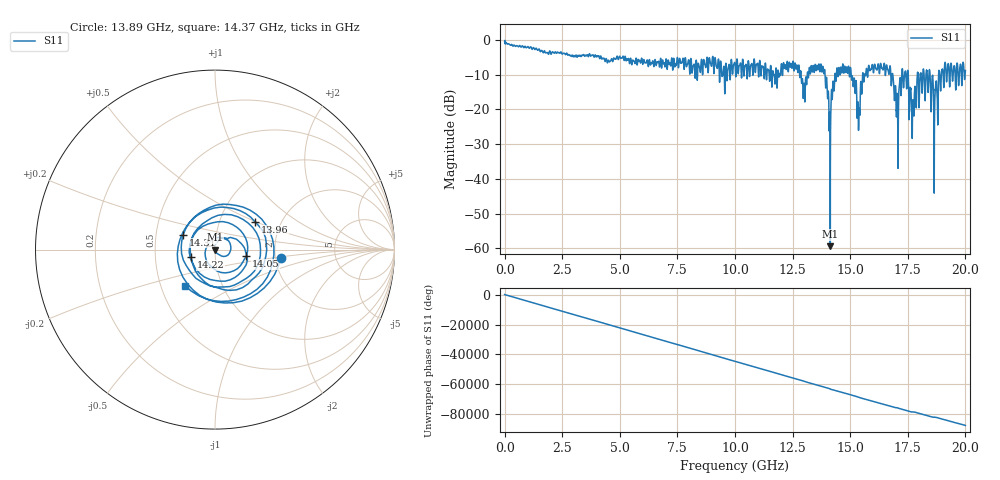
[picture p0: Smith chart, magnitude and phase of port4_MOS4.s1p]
! MS46122B
! 2250307/22442219
! 6/12/2025 7:37:34 AM
! C:\USERS\SPARKY\DOCUMENTS\VNA_DATA\JUNE12_2025\3.1 KELVIN\PORT4.S1P
! CHANNEL.1
! TR.MEASUREMENT
! RAW.DATA
# GHZ S RI R 50.0
! FREQ.GHZ  S11RE  S11IM
!; PortSelection: Port_1
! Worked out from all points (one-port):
!   10001 points, 1 MHz to 20 GHz, reference 50 ohm
!   lowest |S11| = -59.4 dB at 14.14 GHz (marker M1), VSWR 1.00, Z = 50 - j0.102 ohm
!   |S11| at or under -10 dB: 13.91 GHz to 14.34 GHz (426.6 MHz wide, 3.02 % of centre); 15.04 GHz to 15.54 GHz (496.9 MHz wide, 3.25 % of centre); 17.52 GHz to 17.91 GHz (395.5 MHz wide, 2.23 % of centre) (the widest 3 of 58)
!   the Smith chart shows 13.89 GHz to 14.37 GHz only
!   S11 on the Smith chart (normalised r, x): 13.89 GHz: 2.13, -0.24; 13.96 GHz: 1.47, +0.50; 14.05 GHz: 1.42, -0.10; 14.22 GHz: 0.76, -0.06; 14.31 GHz: 0.69, +0.12; 14.37 GHz: 0.66, -0.29
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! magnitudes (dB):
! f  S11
! 1 MHz  -0.5
! 2.501 GHz  -4.1
! 5.001 GHz  -4.8
! 7.501 GHz  -5.1
! 10 GHz  -6.9
! 12.5 GHz  -6.7
! 12.97 GHz  -15.8
! 13.31 GHz  -7.4
! 13.89 GHz  -8.7
! 13.96 GHz  -11.3
! 14.05 GHz  -15.0
! 14.14 GHz  -59.4
! 14.22 GHz  -17.1
! 14.31 GHz  -14.2
! 14.37 GHz  -11.7
! 15 GHz  -8.4
! 15.36 GHz  -25.5
! 15.88 GHz  -8.5
! 16.66 GHz  -9.1
! 17.01 GHz  -21.7
! 17.32 GHz  -13.3
! 17.5 GHz  -8.8
! 17.76 GHz  -21.9
! 17.99 GHz  -19.2
! 18.38 GHz  -15.0
! 18.72 GHz  -12.7
! 19.06 GHz  -13.5
! 20 GHz  -8.8
